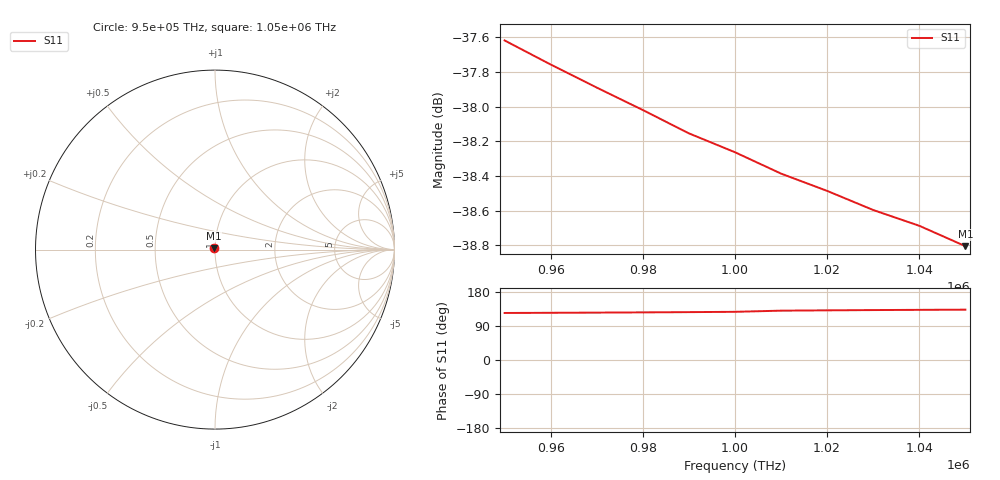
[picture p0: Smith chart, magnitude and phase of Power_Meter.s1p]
# GHz S RI R 50
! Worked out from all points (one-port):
!   11 points, 9.5e+05 THz to 1.05e+06 THz, reference 50 ohm
!   lowest |S11| = -38.8 dB at 1.05e+06 THz (marker M1), VSWR 1.02, Z = 49.2 + j0.829 ohm
!   |S11| at or under -10 dB: start of sweep to end of sweep
9.5e8  -0.00737 0.0109
9.6e8  -0.00734 0.0107
9.7e8  -0.00732 0.0104
9.8e8  -0.00732 0.0102
9.9e8  -0.00733 0.00996
1e9  -0.00738 0.00974
1.01e9  -0.00777 0.0092
1.02e9  -0.00781 0.00898
1.03e9  -0.00783 0.00877
1.04e9  -0.00783 0.0086
1.05e9  -0.0078 0.00842
